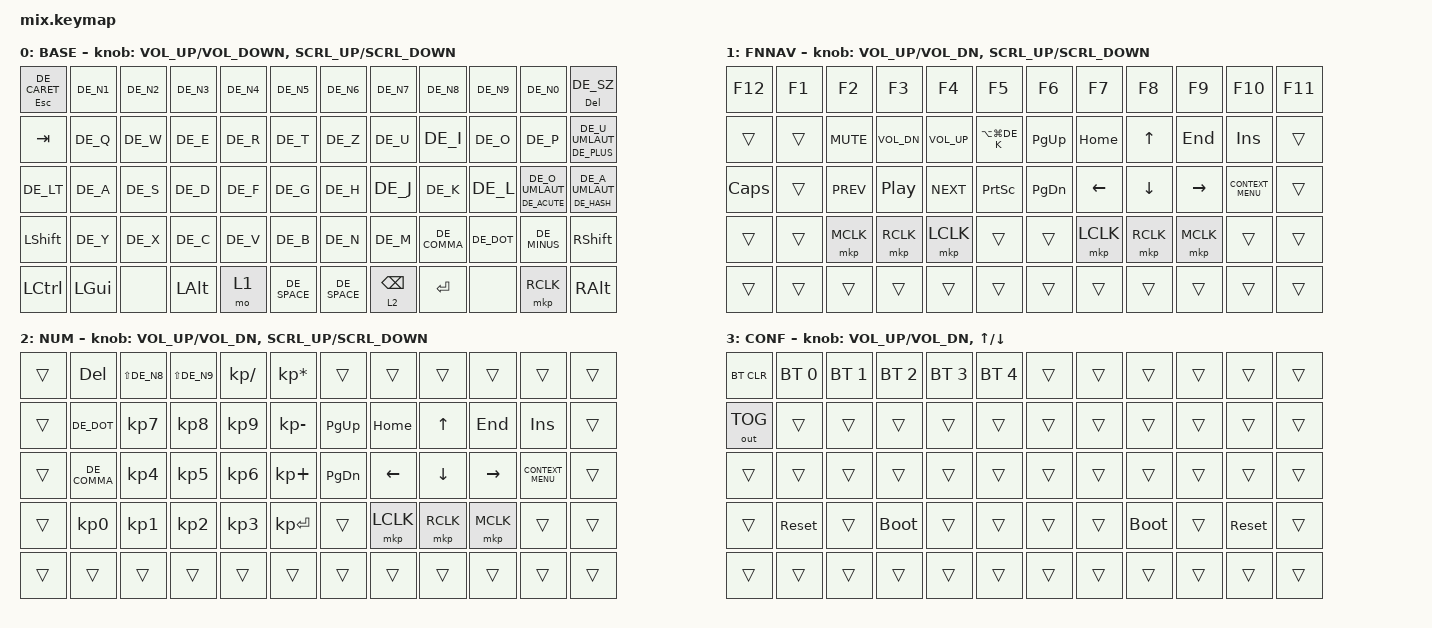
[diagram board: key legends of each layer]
/*
 * Copyright (c) 2020 The ZMK Contributors
 *
 * SPDX-License-Identifier: MIT
 */

#include "keys_de.h"
#include <behaviors.dtsi>
#include <dt-bindings/zmk/bt.h>
#include <dt-bindings/zmk/keys.h>
#include <dt-bindings/zmk/outputs.h>
#include <dt-bindings/zmk/pointing.h>

#define ZMK_POINTING_DEFAULT_SCRL_VAL 40

/ {
    combos { compatible = "zmk,combos"; };

    behaviors {
        encoder_sc: encoder_sc {
            compatible = "zmk,behavior-sensor-rotate-var";
            label = "ENCODER_SC";
            #sensor-binding-cells = <2>;
            bindings = <&msc>, <&msc>;

            tap-ms = <40>;
        };

        lt2: lt2 {
            compatible = "zmk,behavior-hold-tap";
            label = "LT2";
            bindings = <&mo>, <&kp>;

            #binding-cells = <2>;
            tapping-term-ms = <200>;
            quick-tap-ms = <180>;
            flavor = "tap-preferred";
        };
    };

    keymap {
        compatible = "zmk,keymap";

        BASE {
            display-name = "BASE";
            bindings = <
&mt ESCAPE DE_CARET  &kp DE_N1     &kp DE_N2  &kp DE_N3     &kp DE_N4  &kp DE_N5     &kp DE_N6     &kp DE_N7         &kp DE_N8     &kp DE_N9   &kp DE_N0                 &mt DELETE DE_SZ
&kp TAB              &kp DE_Q      &kp DE_W   &kp DE_E      &kp DE_R   &kp DE_T      &kp DE_Z      &kp DE_U          &kp DE_I      &kp DE_O    &kp DE_P                  &mt DE_PLUS DE_U_UMLAUT
&kp DE_LT            &kp DE_A      &kp DE_S   &kp DE_D      &kp DE_F   &kp DE_G      &kp DE_H      &kp DE_J          &kp DE_K      &kp DE_L    &mt DE_ACUTE DE_O_UMLAUT  &mt DE_HASH DE_A_UMLAUT
&kp LSHFT            &kp DE_Y      &kp DE_X   &kp DE_C      &kp DE_V   &kp DE_B      &kp DE_N      &kp DE_M          &kp DE_COMMA  &kp DE_DOT  &kp DE_MINUS              &kp RSHFT
&kp LCTRL            &kp LEFT_GUI  &none      &kp LEFT_ALT  &mo 1      &kp DE_SPACE  &kp DE_SPACE  &lt2 2 BACKSPACE  &kp ENTER     &none       &mkp RCLK                 &kp RIGHT_ALT
            >;

            sensor-bindings =
                <&inc_dec_kp C_VOLUME_UP C_VOLUME_DOWN>,
                <&encoder_sc SCRL_UP SCRL_DOWN>;

            label = "BASE";
        };

        FNNAV {
            display-name = "FNNAV";
            bindings = <
&kp F12       &kp F1  &kp F2      &kp F3            &kp F4        &kp F5            &kp F6         &kp F7          &kp F8          &kp F9           &kp F10             &kp F11
&trans        &trans  &kp C_MUTE  &kp C_VOL_DN      &kp C_VOL_UP  &kp LA(LG(DE_K))  &kp PAGE_UP    &kp HOME        &kp UP_ARROW    &kp END          &kp INSERT          &trans
&kp CAPSLOCK  &trans  &kp C_PREV  &kp C_PLAY_PAUSE  &kp C_NEXT    &kp PRINTSCREEN   &kp PAGE_DOWN  &kp LEFT_ARROW  &kp DOWN_ARROW  &kp RIGHT_ARROW  &kp K_CONTEXT_MENU  &trans
&trans        &trans  &mkp MCLK   &mkp RCLK         &mkp LCLK     &trans            &trans         &mkp LCLK       &mkp RCLK       &mkp MCLK        &trans              &trans
&trans        &trans  &trans      &trans            &trans        &trans            &trans         &trans          &trans          &trans           &trans              &trans
            >;

            sensor-bindings =
                <&inc_dec_kp C_VOL_UP C_VOL_DN>,
                <&encoder_sc SCRL_UP SCRL_DOWN>;

            label = "FNNAV";
        };

        NUM {
            display-name = "NUM";
            bindings = <
&trans  &kp DELETE       &kp LS(DE_N8)    &kp LS(DE_N9)    &kp KP_SLASH     &kp KP_MULTIPLY  &trans         &trans          &trans          &trans           &trans              &trans
&trans  &kp DE_DOT       &kp KP_NUMBER_7  &kp KP_NUMBER_8  &kp KP_NUMBER_9  &kp KP_SUBTRACT  &kp PAGE_UP    &kp HOME        &kp UP_ARROW    &kp END          &kp INSERT          &trans
&trans  &kp DE_COMMA     &kp KP_NUMBER_4  &kp KP_NUMBER_5  &kp KP_NUMBER_6  &kp KP_PLUS      &kp PAGE_DOWN  &kp LEFT_ARROW  &kp DOWN_ARROW  &kp RIGHT_ARROW  &kp K_CONTEXT_MENU  &trans
&trans  &kp KP_NUMBER_0  &kp KP_NUMBER_1  &kp KP_NUMBER_2  &kp KP_NUMBER_3  &kp KP_ENTER     &trans         &mkp LCLK       &mkp RCLK       &mkp MCLK        &trans              &trans
&trans  &trans           &trans           &trans           &trans           &trans           &trans         &trans          &trans          &trans           &trans              &trans
            >;

            sensor-bindings =
                <&inc_dec_kp C_VOL_UP C_VOL_DN>,
                <&encoder_sc SCRL_UP SCRL_DOWN>;

            label = "NUM";
        };

        CONF {
            display-name = "CONF";
            bindings = <
&bt BT_CLR    &bt BT_SEL 0  &bt BT_SEL 1  &bt BT_SEL 2  &bt BT_SEL 3  &bt BT_SEL 4  &trans  &trans  &trans       &trans  &trans      &trans
&out OUT_TOG  &trans        &trans        &trans        &trans        &trans        &trans  &trans  &trans       &trans  &trans      &trans
&trans        &trans        &trans        &trans        &trans        &trans        &trans  &trans  &trans       &trans  &trans      &trans
&trans        &sys_reset    &trans        &bootloader   &trans        &trans        &trans  &trans  &bootloader  &trans  &sys_reset  &trans
&trans        &trans        &trans        &trans        &trans        &trans        &trans  &trans  &trans       &trans  &trans      &trans
            >;

            sensor-bindings =
                <&inc_dec_kp C_VOL_UP C_VOL_DN>,
                <&inc_dec_kp UP_ARROW DOWN_ARROW>;

            label = "CONF";
        };
    };

    conditional_layers {
        compatible = "zmk,conditional-layers";

        Third_Layer {
            if-layers = <1 2>;
            then-layer = <3>;
        };
    };
};
